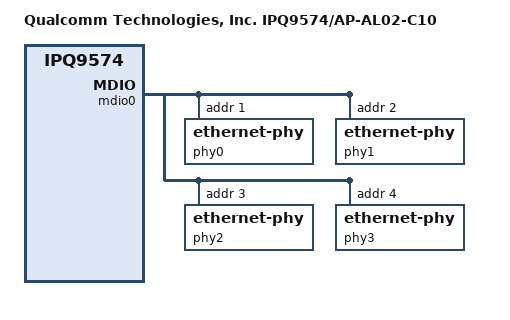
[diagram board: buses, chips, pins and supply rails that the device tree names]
// SPDX-License-Identifier: (GPL-2.0+ OR BSD-3-Clause)
/*
 * IPQ9574 AL02-C10 board device tree source
 *
 * Copyright (c) 2020-2021 The Linux Foundation. All rights reserved.
 * Copyright (c) 2022 Qualcomm Innovation Center, Inc. All rights reserved.
 */

/dts-v1/;

#include "ipq9574-al02-c4.dts"

/ {
	#address-cells = <0x2>;
	#size-cells = <0x2>;
	model = "Qualcomm Technologies, Inc. IPQ9574/AP-AL02-C10";
	compatible = "qcom,ipq9574-ap-al02-c10", "qcom,ipq9574-al02", "qcom,ipq9574";
	interrupt-parent = <&intc>;

	soc {
		dp1 {
			qcom,id = <5>;
			reg = <0x3a510000 0x4000>;
			qcom,mactype = <1>;
			qcom,phy-mdio-addr = <8>;
		};

		dp2 {
			qcom,id = <6>;
			reg = <0x3a514000 0x4000>;
			qcom,mactype = <1>;
			qcom,phy-mdio-addr = <0>;
		};

		dp3 {
			qcom,id = <1>;
			reg = <0x3a001000 0x200>;
			qcom,mactype = <0>;
			/delete-property/qcom,link-poll;
			/delete-property/qcom,phy-mdio-addr;
		};

		/delete-node/ dp4;
		/delete-node/ dp5;
		/delete-node/ dp6;

		mdio0:mdio@90000 {
			/*gpio60 for manhattan reset*/
			phy-reset-gpio = <&tlmm 60 0>;
			phyaddr_fixup = <0xC90F018>;
			uniphyaddr_fixup = <0xC90F014>;
			mdio_clk_fixup; /* MDIO clock sequence fix up flag */

			phy0: ethernet-phy@0 {
				reg = <1>;
				fixup;
			};
			phy1: ethernet-phy@1 {
				reg = <2>;
				fixup;
			};
			phy2: ethernet-phy@2 {
				reg = <3>;
				fixup;
			};
			phy3: ethernet-phy@3 {
				reg = <4>;
				fixup;
			};
		};

		ess-instance {
			num_devices = <0x2>;
			ess-switch@3a000000 {
				switch_lan_bmp = <0x22>; /* lan port bitmap */
				switch_mac_mode = <0xc>; /* mac mode for uniphy instance0*/
				bm_tick_mode = <1>; /* bm tick mode */
				tm_tick_mode = <1>; /* tm tick mode */
				qcom,port_phyinfo {
					port@0 {
						port_id = <1>;
						/delete-property/phy_address;
						forced-speed = <1000>;
						forced-duplex = <1>;
						port_mac_sel = "QGMAC_PORT";
					};
					/delete-node/ port@1;
					/delete-node/ port@2;
					/delete-node/ port@3;
				};

			};

			ess-switch1@0xc000000 {
				compatible = "qcom,ess-switch-qca8386";
				device_id = <1>;
				switch_access_mode = "mdio";
				mdio-bus = <&mdio0>;
				switch_mac_mode = <0xc>; /* mac mode for uniphy instance0 */
				switch_mac_mode1 = <0xff>; /* mac mode1 for uniphy instance1 */
				switch_cpu_bmp = <0x1>;  /* cpu port bitmap */
				switch_lan_bmp = <0x1e>; /* lan port bitmap */
				switch_wan_bmp = <0x0>;  /* wan port bitmap */
				link-polling-required = <0>;
				link-intr-gpio = <&tlmm 0x2f 0>;
				qcom,port_phyinfo {
					port@0 {
						port_id = <0>;
						forced-speed = <2500>;
						forced-duplex = <1>;
					};
					port@1 {
						port_id = <1>;
						phy_address = <1>;
					};
					port@2 {
						port_id = <2>;
						phy_address = <2>;
					};
					port@3 {
						port_id = <3>;
						phy_address = <3>;
					};
					port@4 {
						port_id = <4>;
						phy_address = <4>;
					};
				};

				led_source@0 {
					source = <0>;
					mode = "normal";
					speed = "all";
					blink_en = "enable";
					active = "high";
				};
				led_source@3 {
					source = <3>;
					mode = "normal";
					speed = "all";
					blink_en = "enable";
					active = "high";
				};
				led_source@6 {
					source = <6>;
					mode = "normal";
					speed = "all";
					blink_en = "enable";
					active = "high";
				};
				led_source@9 {
					source = <9>;
					mode = "normal";
					speed = "all";
					blink_en = "enable";
					active = "high";
				};
			};
		};
	};
};
